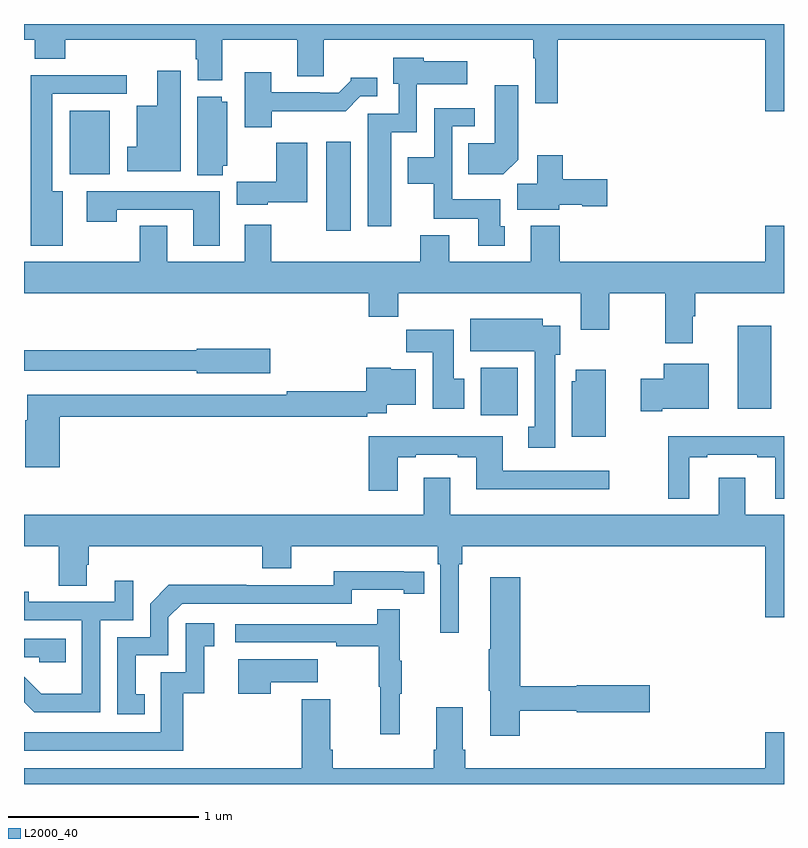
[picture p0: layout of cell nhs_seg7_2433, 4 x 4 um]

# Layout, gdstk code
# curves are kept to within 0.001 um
import gdstk
lib = gdstk.Library(unit=1e-6, precision=1e-09)
def R(c, l, rs):  # rectangles x0, y0, x1, y1
    for r in rs: c.add(gdstk.rectangle(r[:2], r[2:], *l))
def P(c, l, *ps):  # polygons
    for p in ps: c.add(gdstk.Polygon(p, *l))
L2000_40 = (2000, 40)

nhs_seg7_2433 = lib.new_cell('nhs_seg7_2433')
R(nhs_seg7_2433, L2000_40, [(271.403,1031.94,271.599,1032.19), (272.756,1031.975,272.932,1032.412), (270.59,1032.912,270.721,1033.381), (269.24,1033.208,269.452,1033.543)])
P(nhs_seg7_2433, L2000_40, [(273,1034),(269,1034),(269,1033.916),(269.056,1033.916),(269.056,1033.817),(269.216,1033.817),(269.216,1033.916),(269.903,1033.916),(269.903,1033.815),(269.915,1033.815),(269.915,1033.703),(270.043,1033.703),(270.043,1033.916),(270.437,1033.916),(270.437,1033.726),(270.577,1033.726),(270.577,1033.916),(271.68,1033.916),(271.68,1033.82),(271.692,1033.82),(271.692,1033.584),(271.808,1033.584),(271.808,1033.916),(272.9,1033.916),(272.9,1033.542),(273,1033.542)],
  [(270.934,1033.43),(271.068,1033.43),(271.068,1033.682),(271.333,1033.682),(271.333,1033.804),(271.104,1033.804),(271.104,1033.822),(270.944,1033.822),(270.944,1033.686),(270.972,1033.686),(270.972,1033.527),(270.809,1033.527),(270.809,1032.936),(270.934,1032.936)],
  [(269.824,1033.753),(269.702,1033.753),(269.702,1033.57),(269.594,1033.57),(269.594,1033.354),(269.543,1033.354),(269.543,1033.226),(269.824,1033.226)],
  [(270.304,1033.542),(270.693,1033.542),(270.771,1033.62),(270.859,1033.62),(270.859,1033.717),(270.72,1033.717),(270.72,1033.702),(270.656,1033.638),(270.557,1033.638),(270.557,1033.641),(270.301,1033.641),(270.301,1033.747),(270.161,1033.747),(270.161,1033.457),(270.304,1033.457)],
  [(269.203,1033.12),(269.149,1033.12),(269.149,1033.632),(269.542,1033.632),(269.542,1033.73),(269.036,1033.73),(269.036,1032.834),(269.203,1032.834)],
  [(271.6,1033.286),(271.6,1033.678),(271.478,1033.678),(271.478,1033.372),(271.339,1033.372),(271.339,1033.208),(271.522,1033.208)],
  [(270.046,1033.254),(270.07,1033.254),(270.07,1033.59),(270.042,1033.59),(270.042,1033.618),(269.912,1033.618),(269.912,1033.204),(270.046,1033.204)],
  [(271.531,1032.936),(271.507,1032.936),(271.507,1033.078),(271.254,1033.078),(271.254,1033.461),(271.372,1033.461),(271.372,1033.557),(271.158,1033.557),(271.158,1033.3),(271.019,1033.3),(271.019,1033.16),(271.156,1033.16),(271.156,1032.974),(271.391,1032.974),(271.391,1032.834),(271.531,1032.834)],
  [(270.282,1033.061),(270.49,1033.061),(270.49,1033.375),(270.328,1033.375),(270.328,1033.171),(270.12,1033.171),(270.12,1033.049),(270.282,1033.049)],
  [(271.818,1033.049),(271.938,1033.049),(271.938,1033.042),(272.071,1033.042),(272.071,1033.184),(271.835,1033.184),(271.835,1033.309),(271.7,1033.309),(271.7,1033.16),(271.595,1033.16),(271.595,1033.022),(271.818,1033.022)],
  [(270.031,1033.119),(269.331,1033.119),(269.331,1032.96),(269.487,1032.96),(269.487,1033.023),(269.891,1033.023),(269.891,1032.834),(270.031,1032.834)],
  [(272.521,1032.461),(272.534,1032.461),(272.534,1032.584),(273,1032.584),(273,1032.937),(272.9,1032.937),(272.9,1032.748),(271.82,1032.748),(271.82,1032.937),(271.667,1032.937),(271.667,1032.748),(271.237,1032.748),(271.237,1032.889),(271.085,1032.889),(271.085,1032.748),(270.301,1032.748),(270.301,1032.943),(270.161,1032.943),(270.161,1032.748),(269.755,1032.748),(269.755,1032.938),(269.608,1032.938),(269.608,1032.748),(269,1032.748),(269,1032.584),(270.815,1032.584),(270.815,1032.46),(270.971,1032.46),(270.971,1032.584),(271.931,1032.584),(271.931,1032.39),(272.079,1032.39),(272.079,1032.584),(272.374,1032.584),(272.374,1032.321),(272.521,1032.321)],
  [(271.795,1032.258),(271.822,1032.258),(271.822,1032.412),(271.729,1032.412),(271.729,1032.448),(271.349,1032.448),(271.349,1032.278),(271.688,1032.278),(271.688,1031.881),(271.655,1031.881),(271.655,1031.769),(271.795,1031.769)],
  [(271.318,1032.132),(271.261,1032.132),(271.261,1032.39),(271.012,1032.39),(271.012,1032.272),(271.151,1032.272),(271.151,1031.976),(271.318,1031.976)],
  [(270.295,1032.291),(269.91,1032.291),(269.91,1032.283),(269,1032.283),(269,1032.174),(269.91,1032.174),(269.91,1032.161),(270.295,1032.161)],
  [(272.359,1031.975),(272.605,1031.975),(272.605,1032.211),(272.366,1032.211),(272.366,1032.133),(272.247,1032.133),(272.247,1031.963),(272.359,1031.963)],
  [(269.189,1031.932),(270.806,1031.932),(270.806,1031.952),(270.909,1031.952),(270.909,1031.996),(271.063,1031.996),(271.063,1032.184),(270.93,1032.184),(270.93,1032.19),(270.801,1032.19),(270.801,1032.068),(270.382,1032.068),(270.382,1032.048),(269.018,1032.048),(269.018,1031.915),(269.006,1031.915),(269.006,1031.667),(269.189,1031.667)],
  [(272.062,1032.18),(271.904,1032.18),(271.904,1032.12),(271.883,1032.12),(271.883,1031.828),(272.062,1031.828)],
  [(272.5,1031.721),(272.596,1031.721),(272.596,1031.733),(272.858,1031.733),(272.858,1031.721),(272.954,1031.721),(272.954,1031.501),(273,1031.501),(273,1031.829),(272.928,1031.829),(272.928,1031.83),(272.391,1031.83),(272.391,1031.501),(272.5,1031.501)],
  [(270.967,1031.721),(271.063,1031.721),(271.063,1031.733),(271.283,1031.733),(271.283,1031.721),(271.379,1031.721),(271.379,1031.552),(272.08,1031.552),(272.08,1031.649),(271.519,1031.649),(271.519,1031.83),(270.815,1031.83),(270.815,1031.544),(270.967,1031.544)],
  [(271.288,1031.156),(271.307,1031.156),(271.307,1031.252),(272.9,1031.252),(272.9,1030.878),(273,1030.878),(273,1031.416),(272.797,1031.416),(272.797,1031.611),(272.657,1031.611),(272.657,1031.416),(271.243,1031.416),(271.243,1031.611),(271.103,1031.611),(271.103,1031.416),(269,1031.416),(269,1031.252),(269.182,1031.252),(269.182,1031.044),(269.329,1031.044),(269.329,1031.154),(269.342,1031.154),(269.342,1031.252),(270.254,1031.252),(270.254,1031.135),(270.406,1031.135),(270.406,1031.252),(271.178,1031.252),(271.178,1031.156),(271.191,1031.156),(271.191,1030.797),(271.288,1030.797)],
  [(269.636,1030.473),(269.587,1030.473),(269.587,1030.677),(269.76,1030.677),(269.76,1030.878),(269.832,1030.95),(270.726,1030.95),(270.726,1031.022),(270.998,1031.022),(270.998,1031.002),(271.106,1031.002),(271.106,1031.118),(270.63,1031.119),(270.63,1031.046),(270.17,1031.046),(270.17,1031.048),(269.762,1031.048),(269.664,1030.95),(269.664,1030.773),(269.49,1030.773),(269.49,1030.368),(269.636,1030.368)],
  [(271.608,1030.386),(271.908,1030.386),(271.908,1030.378),(272.293,1030.378),(272.293,1030.52),(271.908,1030.52),(271.908,1030.514),(271.613,1030.514),(271.613,1031.089),(271.454,1031.089),(271.454,1030.709),(271.447,1030.709),(271.447,1030.491),(271.454,1030.491),(271.454,1030.254),(271.608,1030.254)],
  [(269.4,1030.863),(269.574,1030.863),(269.574,1031.071),(269.477,1031.071),(269.477,1030.959),(269.026,1030.959),(269.026,1031.011),(269,1031.011),(269,1030.863),(269.304,1030.863),(269.304,1030.474),(269.09,1030.474),(269,1030.564),(269,1030.431),(269.054,1030.377),(269.4,1030.377)],
  [(270.977,1030.475),(270.988,1030.475),(270.988,1030.649),(270.977,1030.649),(270.977,1030.921),(270.859,1030.921),(270.859,1030.842),(270.111,1030.842),(270.111,1030.746),(270.643,1030.746),(270.643,1030.726),(270.867,1030.726),(270.867,1030.512),(270.874,1030.512),(270.874,1030.263),(270.977,1030.263)],
  [(269.837,1030.478),(269.948,1030.478),(269.948,1030.725),(270.001,1030.725),(270.001,1030.846),(269.85,1030.846),(269.85,1030.587),(269.721,1030.587),(269.721,1030.272),(269,1030.272),(269,1030.176),(269.837,1030.176)],
  [(269.219,1030.764),(269,1030.764),(269,1030.668),(269.079,1030.668),(269.079,1030.641),(269.219,1030.641)],
  [(270.299,1030.535),(270.547,1030.535),(270.547,1030.657),(270.128,1030.657),(270.128,1030.476),(270.299,1030.476)],
  [(273,1030.273),(272.9,1030.273),(272.9,1030.084),(271.322,1030.084),(271.322,1030.18),(271.309,1030.18),(271.309,1030.405),(271.169,1030.405),(271.169,1030.18),(271.157,1030.18),(271.157,1030.084),(270.626,1030.084),(270.626,1030.18),(270.613,1030.18),(270.613,1030.447),(270.461,1030.447),(270.461,1030.084),(269,1030.084),(269,1030),(273,1030)])

lib.write_gds('nhs_seg7_2433.gds')
